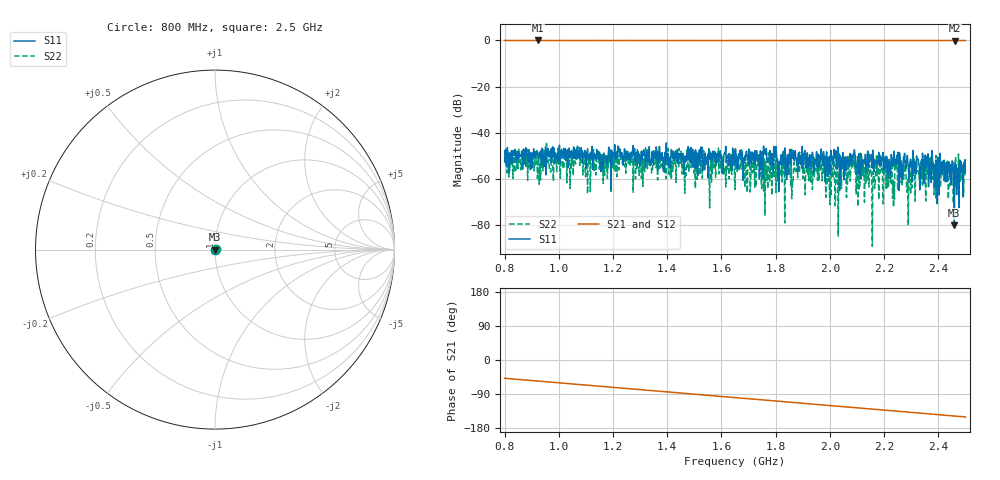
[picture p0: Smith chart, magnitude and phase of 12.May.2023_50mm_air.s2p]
!Keysight Technologies N9950B: A.12.38
!Date: Friday, 12 May 2023 16:23:29
!Timezone: (UTC-06:00) Central Time (US & Canada)
!Model: N9950B
!Serial: MY61131330
!GPS Latitude:
!GPS Longitude:
!GPS TimeStamp: 0001-01-01 00:00:00Z
!GPS Seconds Since Last Read: 0
!CHECKSUM:0141000567
!Correction: S11(ON U)S21(ON U)S12(ON U)S22(ON U)
!S2P File: Measurements:S11,S21,S12,S22:
# Hz S DB R 50
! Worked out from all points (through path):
!   1001 points, 800 MHz to 2.5 GHz, reference 50 ohm
!   highest |S21| = 0.00 dB at 924.1 MHz (marker M1); lowest = -0.1 dB at 2.463 GHz (marker M2)
!   group delay of S21, straight-line fit = 167 ps
!   lowest |S11| = -80.3 dB at 2.459 GHz (marker M3), VSWR 1.00, Z = 50 - j0.00963 ohm
!   |S11| at or under -10 dB: start of sweep to end of sweep
!   |S22| runs from -89.3 to -44.7 dB; largest |S21 - S12| = 0.0052
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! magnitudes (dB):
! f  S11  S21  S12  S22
! 800 MHz  -52.7  0.0  0.0  -49.3
! 924.1 MHz  -49.0  0.0  0.0  -51.6
! 1.084 GHz  -48.1  0.0  0.0  -47.5
! 1.368 GHz  -52.3  0.0  0.0  -53.8
! 1.65 GHz  -53.8  0.0  -0.1  -64.7
! 1.737 GHz  -49.6  0.0  0.0  -53.9
! 1.762 GHz  -49.6  0.0  -0.1  -52.5
! 1.844 GHz  -49.8  0.0  -0.1  -52.6
! 1.857 GHz  -47.3  0.0  0.0  -50.8
! 1.934 GHz  -50.5  0.0  0.0  -52.1
! 2.027 GHz  -52.8  0.0  0.0  -56.1
! 2.046 GHz  -51.6  0.0  0.0  -55.0
! 2.087 GHz  -49.1  0.0  0.0  -53.3
! 2.102 GHz  -50.3  0.0  0.0  -64.1
! 2.218 GHz  -54.4  0.0  0.0  -53.6
! 2.23 GHz  -51.4  0.0  0.0  -56.3
! 2.248 GHz  -53.5  0.0  0.0  -55.2
! 2.289 GHz  -54.9  0.0  0.0  -80.3
! 2.313 GHz  -55.6  0.0  0.0  -62.9
! 2.459 GHz  -80.3  0.0  0.0  -60.7
! 2.463 GHz  -59.3  -0.1  -0.1  -51.4
! 2.5 GHz  -57.1  0.0  0.0  -54.3
